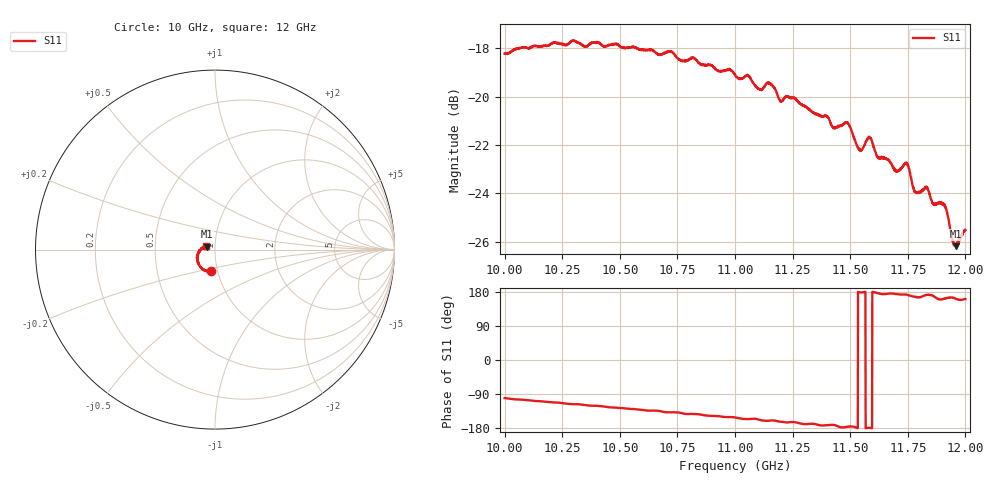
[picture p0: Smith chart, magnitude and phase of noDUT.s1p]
[Version] 2.0
! Rohde & Schwarz Vector Network Analyzer
! Rohde-Schwarz,ZNL20-2Port,1323001220200009,1.71.1.10-23.02.1.238
! Port Assignments:
! Nominal Port -> Actual Test Port
!  1 -> 1
! Created: GMT 2024-09-04 10:11:02
# Hz S DB R 50
[Number of Ports] 1
! freq[Hz]  S11[mag dB]  S11[ang]
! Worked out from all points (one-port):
!   2001 points, 10 GHz to 12 GHz, reference 50 ohm
!   lowest |S11| = -26.2 dB at 11.96 GHz (marker M1), VSWR 1.10, Z = 45.5 + j1.42 ohm
!   |S11| at or under -10 dB: start of sweep to end of sweep
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[Number of Frequencies] 28
[Network Data]
1e10  -18.22 -100.5
1.025e10  -17.82 -113.7
1.05e10  -17.91 -126.5
1.0719e10  -18.15 -138.2
1.075e10  -18.41 -138.3
1.1e10  -19.08 -151.5
1.1058e10  -19.15 -155.8
1.1108e10  -19.70 -158.1
1.1152e10  -19.45 -160.1
1.1199e10  -20.19 -162.9
1.125e10  -20.03 -163.5
1.1398e10  -20.79 -172.1
1.1428e10  -21.30 -171.1
1.1482e10  -21.06 -176.8
1.15e10  -21.27 -175.4
1.154e10  -22.19 178.7
1.1583e10  -21.66 -179.0
1.1621e10  -22.50 176.4
1.1663e10  -22.61 175.1
1.1698e10  -23.10 174.2
1.175e10  -22.81 171.7
1.1783e10  -23.96 166.8
1.1831e10  -23.74 171.8
1.1862e10  -24.46 168.5
1.1908e10  -24.49 161.6
1.1944e10  -25.90 164.5
1.1959e10  -26.19 161.5
1.2e10  -25.52 160.8
[End]
